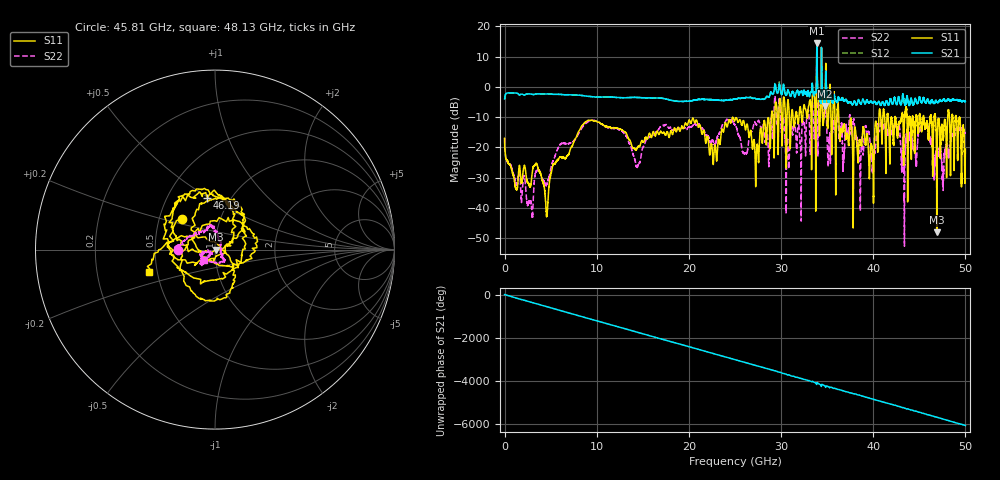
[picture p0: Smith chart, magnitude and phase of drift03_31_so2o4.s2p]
!Created with skrf (http://scikit-rf.org).
# Hz S RI R 50.0
!freq ReS11 ImS11 ReS21 ImS21 ReS12 ImS12 ReS22 ImS22
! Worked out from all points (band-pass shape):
!   10001 points, 300 kHz to 50 GHz, reference 50 ohm
!   highest |S21| = 14.34 dB at 33.88 GHz (marker M1); lowest = -6.3 dB at 34.79 GHz (marker M2)
!   |S21| within 3 dB of the highest: 33.86951 GHz to 33.88855 GHz (19.04 MHz wide, 0.0562 % of centre); 34.37678 GHz to 34.38996 GHz (13.18 MHz wide, 0.0383 % of centre)
!   lowest |S11| = -48.1 dB at 46.89 GHz (marker M3), VSWR 1.01, Z = 50.4 + j0.00437 ohm
!   |S11| at or under -10 dB: start of sweep to 28.94 GHz; 36.27 GHz to 40.61 GHz (4.341 GHz wide, 11.3 % of centre); 46.75 GHz to 48.08 GHz (1.336 GHz wide, 2.82 % of centre) (the widest 3 of 56)
!   |S22| runs from -52.7 to 10.8 dB; largest |S21 - S12| = 0.82
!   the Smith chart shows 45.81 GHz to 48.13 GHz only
!   S11 on the Smith chart (normalised r, x): 45.81 GHz: 0.65, +0.24; 46.19 GHz: 0.78, +0.49; 48.13 GHz: 0.45, -0.13
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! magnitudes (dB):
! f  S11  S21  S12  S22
! 300 kHz  -17.0  -4.0  -4.0  -16.9
! 2.825 GHz  -32.6  -2.4  -2.4  -38.4
! 4.565 GHz  -42.1  -2.3  -2.3  -32.1
! 8.335 GHz  -13.1  -2.8  -2.8  -13.9
! 14.44 GHz  -19.9  -3.5  -3.5  -26.3
! 16.67 GHz  -15.4  -3.7  -3.7  -14.3
! 22.82 GHz  -19.4  -4.3  -4.3  -19.1
! 25 GHz  -11.0  -4.0  -4.0  -12.5
! 27.39 GHz  -19.3  -4.1  -4.1  -12.4
! 29.6 GHz  -10.4  -2.0  -2.1  -11.7
! 30.7 GHz  -5.7  -1.5  -1.5  -17.3
! 33.34 GHz  -13.6  -0.4  -0.5  -7.0
! 33.88 GHz  15.3  14.3  14.0  10.8
! 34.79 GHz  -3.2  -6.3  -5.0  -8.6
! 39.81 GHz  -19.1  -5.0  -4.8  -23.9
! 41.67 GHz  -12.3  -6.0  -5.9  -15.1
! 43.24 GHz  -12.8  -3.0  -2.9  -18.3
! 45.81 GHz  -12.0  -4.7  -4.7  -13.6
! 46.19 GHz  -10.7  -5.4  -5.3  -18.3
! 46.89 GHz  -48.1  -4.9  -4.9  -22.3
! 48.13 GHz  -8.3  -4.1  -4.0  -21.4
! 50 GHz  -20.6  -4.9  -4.9  -15.2
